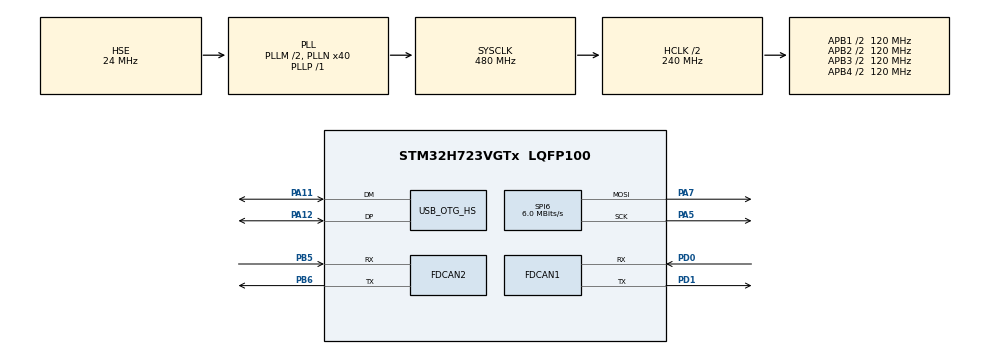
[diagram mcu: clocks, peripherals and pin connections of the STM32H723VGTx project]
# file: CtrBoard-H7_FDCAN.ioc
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CORTEX_M7.CPU_DCache=Enabled
CORTEX_M7.CPU_ICache=Enabled
FDCAN1.AutoRetransmission=ENABLE
FDCAN1.CalculateBaudRateNominal=1000000
FDCAN1.CalculateTimeBitNominal=1000
FDCAN1.CalculateTimeQuantumNominal=12.5
FDCAN1.DataSyncJumpWidth=2
FDCAN1.DataTimeSeg1=13
FDCAN1.DataTimeSeg2=1
FDCAN1.ExtFiltersNbr=4
FDCAN1.Mode=FDCAN_MODE_NORMAL
FDCAN1.NominalPrescaler=1
FDCAN1.NominalSyncJumpWidth=20
FDCAN1.NominalTimeSeg1=59
FDCAN1.NominalTimeSeg2=20
FDCAN1.ProtocolException=ENABLE
FDCAN1.RxBuffersNbr=3
FDCAN1.RxFifo0ElmtsNbr=8
FDCAN1.RxFifo1ElmtsNbr=8
FDCAN1.StdFiltersNbr=4
FDCAN1.TransmitPause=DISABLE
FDCAN1.TxBuffersNbr=8
FDCAN1.TxEventsNbr=8
FDCAN1.TxFifoQueueElmtsNbr=8
FDCAN2.AutoRetransmission=ENABLE
FDCAN2.CalculateBaudRateNominal=1000000
FDCAN2.CalculateTimeBitNominal=1000
FDCAN2.CalculateTimeQuantumNominal=12.5
FDCAN2.DataSyncJumpWidth=2
FDCAN2.DataTimeSeg1=13
FDCAN2.DataTimeSeg2=1
FDCAN2.ExtFiltersNbr=4
FDCAN2.FrameFormat=FDCAN_FRAME_CLASSIC
FDCAN2.MessageRAMOffset=0x406
FDCAN2.NominalPrescaler=1
FDCAN2.NominalSyncJumpWidth=20
FDCAN2.NominalTimeSeg1=59
FDCAN2.NominalTimeSeg2=20
FDCAN2.ProtocolException=ENABLE
FDCAN2.RxBuffersNbr=3
FDCAN2.RxFifo0ElmtsNbr=8
FDCAN2.RxFifo1ElmtsNbr=8
FDCAN2.StdFiltersNbr=4
FDCAN2.TxBuffersNbr=8
FDCAN2.TxEventsNbr=8
FDCAN2.TxFifoQueueElmtsNbr=8
FREERTOS.BinarySemaphores01=MotorInitDone_Sem,Static,MotorInitDoneControlBlock,Depleted
FREERTOS.INCLUDE_eTaskGetState=1
FREERTOS.INCLUDE_uxTaskGetStackHighWaterMark=1
FREERTOS.INCLUDE_vTaskDelayUntil=1
FREERTOS.INCLUDE_xQueueGetMutexHolder=1
FREERTOS.INCLUDE_xTaskGetCurrentTaskHandle=1
FREERTOS.INCLUDE_xTimerPendFunctionCall=1
FREERTOS.Tasks01=defaultTask,0,128,StartDefaultTask,Default,NULL,Dynamic,NULL,NULL;LiveTest,0,128,LiveTest_Entry,As weak,NULL,Static,LiveTestBuffer,LiveTestControlBlock;ControlTask,2,256,ControlTask_Entry,As weak,NULL,Static,ControlTaskBuffer,ControlTaskControlBlock
FREERTOS.configENABLE_FPU=1
FREERTOS.configUSE_COUNTING_SEMAPHORES=1
FREERTOS.configUSE_RECURSIVE_MUTEXES=1
FREERTOS.configUSE_TIMERS=1
FREERTOS.configUSE_TRACE_FACILITY=1
Mcu.Family=STM32H7
Mcu.Name=STM32H723VGTx
Mcu.Package=LQFP100
NVIC.FDCAN1_IT0_IRQn=true\:5\:0\:false\:false\:true\:true\:true\:true\:true
NVIC.FDCAN1_IT1_IRQn=true\:5\:0\:false\:false\:true\:true\:true\:true\:true
NVIC.FDCAN2_IT0_IRQn=true\:5\:0\:false\:false\:true\:true\:true\:true\:true
NVIC.FDCAN2_IT1_IRQn=true\:5\:0\:false\:false\:true\:true\:true\:true\:true
NVIC.OTG_HS_IRQn=true\:5\:0\:false\:false\:true\:true\:true\:true\:true
NVIC.PriorityGroup=NVIC_PRIORITYGROUP_4
NVIC.TIM23_IRQn=true\:15\:0\:false\:false\:true\:false\:false\:true\:true
NVIC.TimeBase=TIM23_IRQn
NVIC.TimeBaseIP=TIM23
PA11.Mode=Device_Only_FS
PA11.Signal=USB_OTG_HS_DM
PA12.Mode=Device_Only_FS
PA12.Signal=USB_OTG_HS_DP
PA13(JTMS/SWDIO).Mode=Serial_Wire
PA13(JTMS/SWDIO).Signal=DEBUG_JTMS-SWDIO
PA14(JTCK/SWCLK).Mode=Serial_Wire
PA14(JTCK/SWCLK).Signal=DEBUG_JTCK-SWCLK
PA5.Mode=TX_Only_Simplex_Unidirect_Master
PA5.Signal=SPI6_SCK
PA7.Mode=TX_Only_Simplex_Unidirect_Master
PA7.Signal=SPI6_MOSI
PB5.Mode=FDCAN_Activate
PB5.Signal=FDCAN2_RX
PB6.Mode=FDCAN_Activate
PB6.Signal=FDCAN2_TX
PD0.Mode=FDCAN_Activate
PD0.Signal=FDCAN1_RX
PD1.Mode=FDCAN_Activate
PD1.Signal=FDCAN1_TX
PD12.Signal=FDCAN3_RX
PH0-OSC_IN.Mode=HSE-External-Oscillator
PH0-OSC_IN.Signal=RCC_OSC_IN
PH1-OSC_OUT.Mode=HSE-External-Oscillator
PH1-OSC_OUT.Signal=RCC_OSC_OUT
ProjectManager.HeapSize=0x200
ProjectManager.StackSize=0x400
ProjectManager.TargetToolchain=MDK-ARM V5.32
RCC.ADCFreq_Value=48375000
RCC.APB1Freq_Value=120000000
RCC.APB2Freq_Value=120000000
RCC.APB3Freq_Value=120000000
RCC.APB4Freq_Value=120000000
RCC.CortexFreq_Value=480000000
RCC.D1PPRE=RCC_APB3_DIV2
RCC.D2PPRE1=RCC_APB1_DIV2
RCC.D2PPRE2=RCC_APB2_DIV2
RCC.D3PPRE=RCC_APB4_DIV2
RCC.DIVM1=2
RCC.DIVN1=40
RCC.DIVP1=1
RCC.DIVQ1=6
RCC.HCLKFreq_Value=240000000
RCC.HPRE=RCC_HCLK_DIV2
RCC.HSE_VALUE=24000000
RCC.PLLFRACN=0
RCC.PLLSourceVirtual=RCC_PLLSOURCE_HSE
RCC.SPI6CLockSelection=RCC_SPI6CLKSOURCE_HSE
RCC.SYSCLKFreq_VALUE=480000000
RCC.SYSCLKSource=RCC_SYSCLKSOURCE_PLLCLK
RCC.USBCLockSelection=RCC_USBCLKSOURCE_HSI48
RCC.USBFreq_Value=48000000
SPI6.BaudRatePrescaler=SPI_BAUDRATEPRESCALER_4
SPI6.CLKPhase=SPI_PHASE_2EDGE
SPI6.CalculateBaudRate=6.0 MBits/s
SPI6.DataSize=SPI_DATASIZE_8BIT
SPI6.Direction=SPI_DIRECTION_2LINES_TXONLY
SPI6.Mode=SPI_MODE_MASTER
SPI6.VirtualType=VM_MASTER
USB_DEVICE.CLASS_NAME_HS=CDC
USB_DEVICE.VirtualMode=Cdc
USB_DEVICE.VirtualModeHS=Cdc_HS
USB_OTG_HS.VirtualMode-Device_Only_FS=Device_Only_FS
VP_FREERTOS_VS_CMSIS_V1.Mode=CMSIS_V1
VP_MEMORYMAP_VS_MEMORYMAP.Mode=CurAppReg
VP_SYS_VS_tim23.Mode=TIM23
VP_USB_DEVICE_VS_USB_DEVICE_CDC_HS.Mode=CDC_HS
board=custom

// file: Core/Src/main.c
/* USER CODE BEGIN Header */
/**
  ******************************************************************************
  * @file           : main.c
  * @brief          : Main program body
  ******************************************************************************
  * @attention
  *
  * Copyright (c) 2024 STMicroelectronics.
  * All rights reserved.
  *
  * This software is licensed under terms that can be found in the LICENSE file
  * in the root directory of this software component.
  * If no LICENSE file comes with this software, it is provided AS-IS.
  *
  ******************************************************************************
  */
/* USER CODE END Header */
#include "main.h"
#include "cmsis_os.h"
#include "fdcan.h"
#include "memorymap.h"
#include "spi.h"
#include "usb_device.h"
#include "gpio.h"

/* USER CODE BEGIN Includes */
#include "ws2812.h"
#include "bsp_fdcan.h"
/* USER CODE END Includes */

void SystemClock_Config(void);
void MX_FREERTOS_Init(void);

/* USER CODE BEGIN 0 */
uint8_t tx_data[8] = {0x40,0x49,0x0e,0x57,0x42,0xc8,0x00,0x00};
/* USER CODE END 0 */

int main(void)
{

  /* Enable the CPU Cache */

  /* Enable I-Cache---------------------------------------------------------*/
  SCB_EnableICache();

  /* Enable D-Cache---------------------------------------------------------*/
  SCB_EnableDCache();

  /* MCU Configuration--------------------------------------------------------*/

  /* Reset of all peripherals, Initializes the Flash interface and the Systick. */
  HAL_Init();

  /* Configure the system clock */
  SystemClock_Config();

  /* Initialize all configured peripherals */
  MX_GPIO_Init();
  MX_FDCAN1_Init();
  MX_SPI6_Init();
  MX_FDCAN2_Init();
  /* USER CODE BEGIN 2 */
	bsp_can_init();
  /* USER CODE END 2 */

  /* Call init function for freertos objects (in cmsis_os2.c) */
  MX_FREERTOS_Init();

  /* Start scheduler */
  osKernelStart();

  /* We should never get here as control is now taken by the scheduler */

  /* Infinite loop */
  while (1)
  {

  }
}

void SystemClock_Config(void)
{
  RCC_OscInitTypeDef RCC_OscInitStruct = {0};
  RCC_ClkInitTypeDef RCC_ClkInitStruct = {0};

  /** Supply configuration update enable
  */
  HAL_PWREx_ConfigSupply(PWR_LDO_SUPPLY);

  /** Configure the main internal regulator output voltage
  */
  __HAL_PWR_VOLTAGESCALING_CONFIG(PWR_REGULATOR_VOLTAGE_SCALE0);

  while(!__HAL_PWR_GET_FLAG(PWR_FLAG_VOSRDY)) {}

  /** Initializes the RCC Oscillators according to the specified parameters
  * in the RCC_OscInitTypeDef structure.
  */
  RCC_OscInitStruct.OscillatorType = RCC_OSCILLATORTYPE_HSI48|RCC_OSCILLATORTYPE_HSE;
  RCC_OscInitStruct.HSEState = RCC_HSE_ON;
  RCC_OscInitStruct.HSI48State = RCC_HSI48_ON;
  RCC_OscInitStruct.PLL.PLLState = RCC_PLL_ON;
  RCC_OscInitStruct.PLL.PLLSource = RCC_PLLSOURCE_HSE;
  RCC_OscInitStruct.PLL.PLLM = 2;
  RCC_OscInitStruct.PLL.PLLN = 40;
  RCC_OscInitStruct.PLL.PLLP = 1;
  RCC_OscInitStruct.PLL.PLLQ = 6;
  RCC_OscInitStruct.PLL.PLLR = 2;
  RCC_OscInitStruct.PLL.PLLRGE = RCC_PLL1VCIRANGE_3;
  RCC_OscInitStruct.PLL.PLLVCOSEL = RCC_PLL1VCOWIDE;
  RCC_OscInitStruct.PLL.PLLFRACN = 0;
  if (HAL_RCC_OscConfig(&RCC_OscInitStruct) != HAL_OK)
  {
    Error_Handler();
  }

  /** Initializes the CPU, AHB and APB buses clocks
  */
  RCC_ClkInitStruct.ClockType = RCC_CLOCKTYPE_HCLK|RCC_CLOCKTYPE_SYSCLK
                              |RCC_CLOCKTYPE_PCLK1|RCC_CLOCKTYPE_PCLK2
                              |RCC_CLOCKTYPE_D3PCLK1|RCC_CLOCKTYPE_D1PCLK1;
  RCC_ClkInitStruct.SYSCLKSource = RCC_SYSCLKSOURCE_PLLCLK;
  RCC_ClkInitStruct.SYSCLKDivider = RCC_SYSCLK_DIV1;
  RCC_ClkInitStruct.AHBCLKDivider = RCC_HCLK_DIV2;
  RCC_ClkInitStruct.APB3CLKDivider = RCC_APB3_DIV2;
  RCC_ClkInitStruct.APB1CLKDivider = RCC_APB1_DIV2;
  RCC_ClkInitStruct.APB2CLKDivider = RCC_APB2_DIV2;
  RCC_ClkInitStruct.APB4CLKDivider = RCC_APB4_DIV2;

  if (HAL_RCC_ClockConfig(&RCC_ClkInitStruct, FLASH_LATENCY_3) != HAL_OK)
  {
    Error_Handler();
  }
}

void HAL_TIM_PeriodElapsedCallback(TIM_HandleTypeDef *htim)
{
  if (htim->Instance == TIM23) {
    HAL_IncTick();
  }
}

void Error_Handler(void)
{
  __disable_irq();
  while (1)
  {
  }
}

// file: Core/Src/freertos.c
/* USER CODE BEGIN Header */
/**
  ******************************************************************************
  * File Name          : freertos.c
  * Description        : Code for freertos applications
  ******************************************************************************
  * @attention
  *
  * Copyright (c) 2026 STMicroelectronics.
  * All rights reserved.
  *
  * This software is licensed under terms that can be found in the LICENSE file
  * in the root directory of this software component.
  * If no LICENSE file comes with this software, it is provided AS-IS.
  *
  ******************************************************************************
  */
/* USER CODE END Header */

#include "FreeRTOS.h"
#include "task.h"
#include "main.h"
#include "cmsis_os.h"

/* USER CODE BEGIN Includes */
#include "ws2812.h"
#include "motor.h"
#include "fdcan.h"
/* USER CODE END Includes */

osThreadId defaultTaskHandle;
osThreadId LiveTestHandle;
uint32_t LiveTestBuffer[ 128 ];
osStaticThreadDef_t LiveTestControlBlock;
osThreadId ControlTaskHandle;
uint32_t ControlTaskBuffer[ 256 ];
osStaticThreadDef_t ControlTaskControlBlock;
osSemaphoreId MotorInitDone_SemHandle;
osStaticSemaphoreDef_t MotorInitDoneControlBlock;

void StartDefaultTask(void const * argument);
void LiveTest_Entry(void const * argument);
void ControlTask_Entry(void const * argument);

extern void MX_USB_DEVICE_Init(void);
void MX_FREERTOS_Init(void); /* (MISRA C 2004 rule 8.1) */

/* GetIdleTaskMemory prototype (linked to static allocation support) */
void vApplicationGetIdleTaskMemory( StaticTask_t **ppxIdleTaskTCBBuffer, StackType_t **ppxIdleTaskStackBuffer, uint32_t *pulIdleTaskStackSize );

/* GetTimerTaskMemory prototype (linked to static allocation support) */
void vApplicationGetTimerTaskMemory( StaticTask_t **ppxTimerTaskTCBBuffer, StackType_t **ppxTimerTaskStackBuffer, uint32_t *pulTimerTaskStackSize );

/* USER CODE BEGIN GET_IDLE_TASK_MEMORY */
static StaticTask_t xIdleTaskTCBBuffer;
static StackType_t xIdleStack[configMINIMAL_STACK_SIZE];

void vApplicationGetIdleTaskMemory( StaticTask_t **ppxIdleTaskTCBBuffer, StackType_t **ppxIdleTaskStackBuffer, uint32_t *pulIdleTaskStackSize )
{
  *ppxIdleTaskTCBBuffer = &xIdleTaskTCBBuffer;
  *ppxIdleTaskStackBuffer = &xIdleStack[0];
  *pulIdleTaskStackSize = configMINIMAL_STACK_SIZE;
  /* place for user code */
}
/* USER CODE END GET_IDLE_TASK_MEMORY */

/* USER CODE BEGIN GET_TIMER_TASK_MEMORY */
static StaticTask_t xTimerTaskTCBBuffer;
static StackType_t xTimerStack[configTIMER_TASK_STACK_DEPTH];

void vApplicationGetTimerTaskMemory( StaticTask_t **ppxTimerTaskTCBBuffer, StackType_t **ppxTimerTaskStackBuffer, uint32_t *pulTimerTaskStackSize )
{
  *ppxTimerTaskTCBBuffer = &xTimerTaskTCBBuffer;
  *ppxTimerTaskStackBuffer = &xTimerStack[0];
  *pulTimerTaskStackSize = configTIMER_TASK_STACK_DEPTH;
  /* place for user code */
}
/* USER CODE END GET_TIMER_TASK_MEMORY */

void MX_FREERTOS_Init(void) {

  /* Create the semaphores(s) */
  /* definition and creation of MotorInitDone_Sem */
  osSemaphoreStaticDef(MotorInitDone_Sem, &MotorInitDoneControlBlock);
  MotorInitDone_SemHandle = osSemaphoreCreate(osSemaphore(MotorInitDone_Sem), 1);

  /* Create the thread(s) */
  /* definition and creation of defaultTask */
  osThreadDef(defaultTask, StartDefaultTask, osPriorityNormal, 0, 128);
  defaultTaskHandle = osThreadCreate(osThread(defaultTask), NULL);

  /* definition and creation of LiveTest */
  osThreadStaticDef(LiveTest, LiveTest_Entry, osPriorityNormal, 0, 128, LiveTestBuffer, &LiveTestControlBlock);
  LiveTestHandle = osThreadCreate(osThread(LiveTest), NULL);

  /* definition and creation of ControlTask */
  osThreadStaticDef(ControlTask, ControlTask_Entry, osPriorityHigh, 0, 256, ControlTaskBuffer, &ControlTaskControlBlock);
  ControlTaskHandle = osThreadCreate(osThread(ControlTask), NULL);

}

void StartDefaultTask(void const * argument)
{
  /* init code for USB_DEVICE */
  MX_USB_DEVICE_Init();
  for(;;)
  {
    osDelay(1);
  }
}

__weak void LiveTest_Entry(void const * argument)
{
  /* USER CODE BEGIN LiveTest_Entry */
	uint8_t live_tic = 0;
  if (MotorInitDone_SemHandle != NULL)
  {
    if (osSemaphoreWait(MotorInitDone_SemHandle, osWaitForever) == osOK)
    {
      /* Semaphore obtained, proceed with the task */
      for(;;)
      {
        WS2812_Ctrl(0, live_tic*255, 0);
        live_tic=!live_tic;
        osDelay(300);
      }
    }
  }
  /* Infinite loop */
  for(;;)
  {
    osDelay(1);
  }
  /* USER CODE END LiveTest_Entry */
}

__weak void ControlTask_Entry(void const * argument)
{
  /* USER CODE BEGIN ControlTask_Entry */
	WS2812_Ctrl(255, 0, 0);
	osDelay(1000);
  uint8_t ret;
  const float home_dir[4] = {1.0f, -1.0f, -1.0f, 1.0f}; // 每个电机归零方向: +1/-1
  const float home_offset_deg[4] = {-190, 192, 192, -192}; // 每个电机二次记零前旋转角度N(度)
  const float pos_step_abs = 0.012f; // 1rad/s * 1ms
  const float tor_th = 0.1f;
  const float pos_resp_vel = 500.0f;
  const uint16_t settle_ms = 1000; // 二次记零前到位等待时间

  ret = dm_motor_multi_home_and_rezero(&hfdcan2, 4, home_dir, home_offset_deg, pos_step_abs, tor_th, pos_resp_vel, settle_ms);
  if (ret != 0){
    while(1){
      osDelay(1);
    }
  }

  osSemaphoreRelease(MotorInitDone_SemHandle);
	WS2812_Ctrl(0, 255, 0);
  osDelay(10);

  /* Infinite loop */
  for(;;)
  {
		osDelay(1);
  }
  /* USER CODE END ControlTask_Entry */
}
